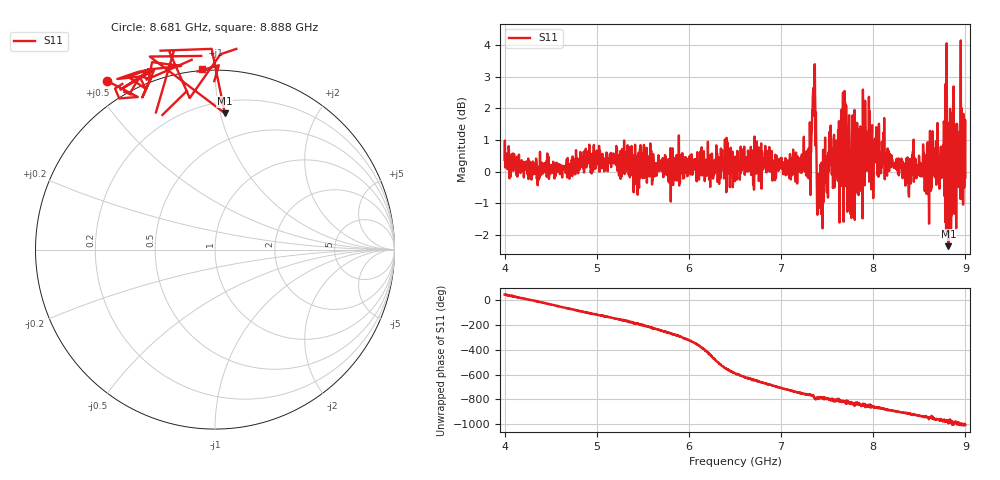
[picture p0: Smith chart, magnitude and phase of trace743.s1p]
! Created with skrf 1.8.0 (http://scikit-rf.org).
# Hz S RI R 50.0
!freq ReS11 ImS11
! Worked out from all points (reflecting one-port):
!   1601 points, 4 GHz to 9 GHz, reference 50 ohm
!   lowest |S11| = -2.4 dB at 8.816 GHz (marker M1), VSWR 7.41, Z = 14.2 + j51.7 ohm
!   phase of S11 starts at 47 deg and turns -1053 deg over the sweep
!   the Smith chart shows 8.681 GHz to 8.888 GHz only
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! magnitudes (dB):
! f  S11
! 4 GHz  0.4
! 4.625 GHz  -0.2
! 4.9 GHz  0.5
! 5.25 GHz  0.0
! 5.875 GHz  0.3
! 6.412 GHz  0.3
! 6.5 GHz  -0.3
! 6.738 GHz  0.4
! 7.125 GHz  0.3
! 7.294 GHz  -0.2
! 7.356 GHz  2.6
! 7.409 GHz  -0.4
! 7.534 GHz  1.1
! 7.656 GHz  2.0
! 7.669 GHz  1.7
! 7.75 GHz  -1.3
! 7.775 GHz  1.8
! 7.8 GHz  -1.5
! 7.938 GHz  0.5
! 7.981 GHz  -0.6
! 8.375 GHz  0.1
! 8.566 GHz  -0.2
! 8.584 GHz  0.8
! 8.638 GHz  0.1
! 8.816 GHz  -2.4
! 8.906 GHz  0.9
! 8.972 GHz  0.6
! 9 GHz  -0.2
